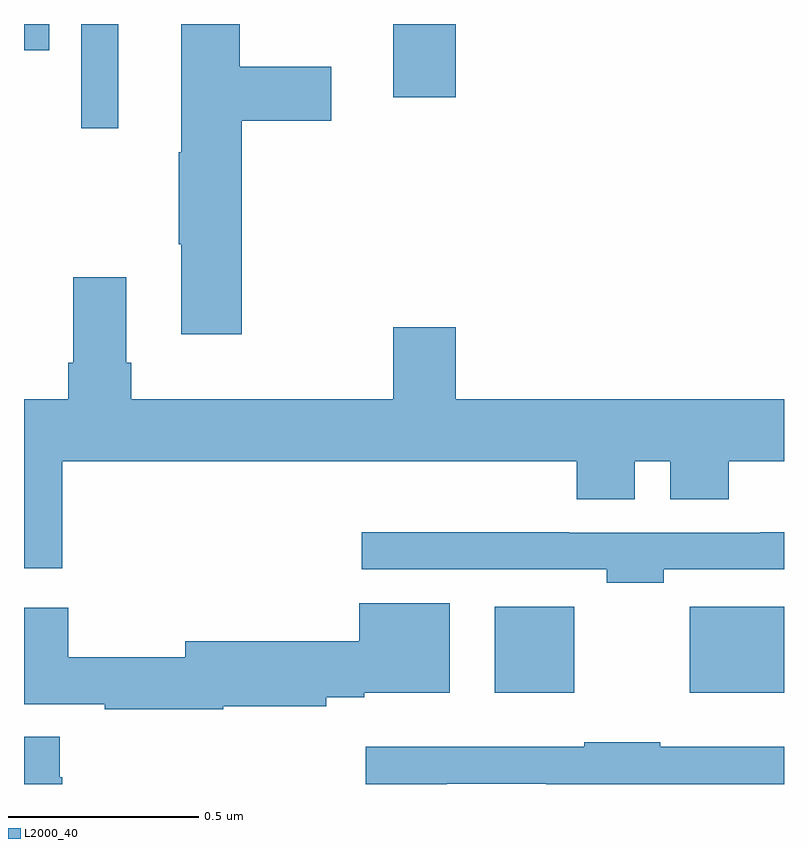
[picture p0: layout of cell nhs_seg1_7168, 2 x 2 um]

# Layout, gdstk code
import gdstk
lib = gdstk.Library(unit=1e-6, precision=1e-09)
def R(c, l, rs):  # rectangles x0, y0, x1, y1
    for r in rs: c.add(gdstk.rectangle(r[:2], r[2:], *l))
def P(c, l, *ps):  # polygons
    for p in ps: c.add(gdstk.Polygon(p, *l))
L2000_40 = (2000, 40)

nhs_seg1_7168 = lib.new_cell('nhs_seg1_7168')
R(nhs_seg1_7168, L2000_40, [(201.239,568.439,201.448,568.666), (201.752,568.439,202,568.666), (200.151,569.925,200.248,570.199), (200.972,570.006,201.136,570.199), (200,570.13,200.066,570.199)])
P(nhs_seg1_7168, L2000_40, [(200.573,569.945),(200.809,569.945),(200.809,570.087),(200.568,570.087),(200.568,570.199),(200.414,570.199),(200.414,569.861),(200.407,569.861),(200.407,569.62),(200.414,569.62),(200.414,569.382),(200.573,569.382)],
  [(200.101,569.048),(201.455,569.048),(201.455,568.949),(201.607,568.949),(201.607,569.048),(201.701,569.048),(201.701,568.949),(201.854,568.949),(201.854,569.048),(202,569.048),(202,569.212),(201.136,569.212),(201.136,569.401),(200.972,569.401),(200.972,569.212),(200.282,569.212),(200.282,569.308),(200.269,569.308),(200.269,569.533),(200.129,569.533),(200.129,569.308),(200.117,569.308),(200.117,569.212),(200,569.212),(200,568.767),(200.101,568.767)],
  [(201.684,568.764),(202,568.764),(202,568.862),(201.937,568.862),(201.937,568.86),(201.434,568.86),(201.434,568.862),(200.889,568.862),(200.889,568.764),(201.534,568.764),(201.534,568.729),(201.684,568.729)],
  [(200.524,568.403),(200.796,568.403),(200.796,568.427),(200.896,568.427),(200.896,568.439),(201.121,568.439),(201.121,568.675),(200.882,568.675),(200.882,568.575),(200.424,568.575),(200.424,568.532),(200.116,568.532),(200.116,568.663),(200,568.663),(200,568.409),(200.212,568.409),(200.212,568.396),(200.524,568.396)],
  [(200.101,568.217),(200.094,568.217),(200.094,568.324),(200,568.324),(200,568.199),(200.101,568.199)],
  [(201.112,568.2),(201.374,568.2),(201.374,568.199),(202,568.199),(202,568.297),(201.674,568.297),(201.674,568.309),(201.474,568.309),(201.474,568.297),(200.899,568.297),(200.899,568.199),(201.112,568.199)])

lib.write_gds('nhs_seg1_7168.gds')
